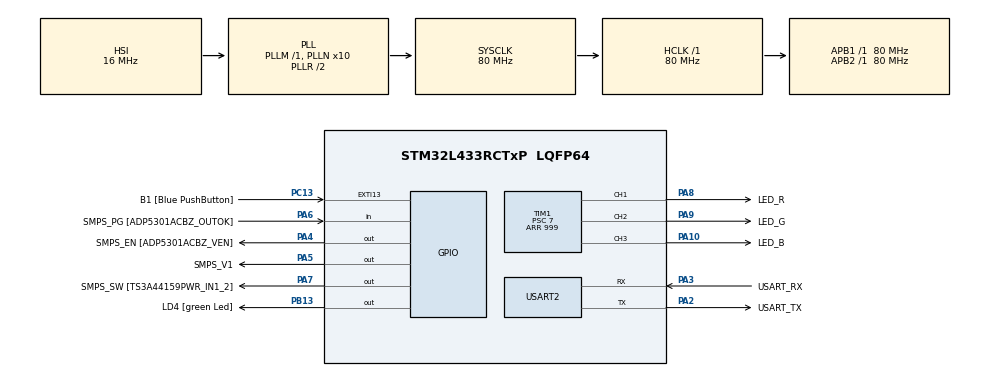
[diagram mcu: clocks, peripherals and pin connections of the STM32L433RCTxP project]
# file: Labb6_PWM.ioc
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Mcu.Family=STM32L4
Mcu.Name=STM32L433RCTxP
Mcu.Package=LQFP64
NVIC.PriorityGroup=NVIC_PRIORITYGROUP_4
NVIC.TIM1_UP_TIM16_IRQn=true\:0\:0\:false\:false\:true\:true\:true\:true
PA10.GPIO_Label=LED_B
PA10.Signal=S_TIM1_CH3
PA13\ (JTMS-SWDIO).GPIO_Label=TMS
PA13\ (JTMS-SWDIO).Mode=Serial_Wire
PA13\ (JTMS-SWDIO).Signal=SYS_JTMS-SWDIO
PA14\ (JTCK-SWCLK).GPIO_Label=TCK
PA14\ (JTCK-SWCLK).Mode=Serial_Wire
PA14\ (JTCK-SWCLK).Signal=SYS_JTCK-SWCLK
PA2.GPIO_Label=USART_TX
PA2.GPIO_Mode=GPIO_MODE_AF_PP
PA2.GPIO_PuPd=GPIO_NOPULL
PA2.GPIO_Speed=GPIO_SPEED_FREQ_VERY_HIGH
PA2.Mode=Asynchronous
PA2.Signal=USART2_TX
PA3.GPIO_Label=USART_RX
PA3.GPIO_Mode=GPIO_MODE_AF_PP
PA3.GPIO_PuPd=GPIO_NOPULL
PA3.GPIO_Speed=GPIO_SPEED_FREQ_VERY_HIGH
PA3.Mode=Asynchronous
PA3.Signal=USART2_RX
PA4.GPIO_Label=SMPS_EN [ADP5301ACBZ_VEN]
PA4.Signal=GPIO_Output
PA5.GPIO_Label=SMPS_V1
PA5.GPIO_ModeDefaultOutputPP=GPIO_MODE_OUTPUT_PP
PA5.GPIO_PuPd=GPIO_NOPULL
PA5.GPIO_Speed=GPIO_SPEED_FREQ_LOW
PA5.Signal=GPIO_Output
PA6.GPIO_Label=SMPS_PG [ADP5301ACBZ_OUTOK]
PA6.GPIO_PuPd=GPIO_PULLUP
PA6.Signal=GPIO_Input
PA7.GPIO_Label=SMPS_SW [TS3A44159PWR_IN1_2]
PA7.Signal=GPIO_Output
PA8.GPIO_Label=LED_R
PA8.Signal=S_TIM1_CH1
PA9.GPIO_Label=LED_G
PA9.Signal=S_TIM1_CH2
PB13.GPIO_Label=LD4 [green Led]
PB13.Signal=GPIO_Output
PB3\ (JTDO-TRACESWO).GPIO_Label=SWO
PB3\ (JTDO-TRACESWO).Signal=SYS_JTDO-SWO
PC13.GPIO_Label=B1 [Blue PushButton]
PC13.GPIO_ModeDefaultEXTI=GPIO_MODE_IT_FALLING
PC13.GPIO_PuPd=GPIO_NOPULL
PC13.Signal=GPXTI13
PC14-OSC32_IN\ (PC14).Mode=LSE-External-Oscillator
PC14-OSC32_IN\ (PC14).Signal=RCC_OSC32_IN
PC15-OSC32_OUT\ (PC15).Mode=LSE-External-Oscillator
PC15-OSC32_OUT\ (PC15).Signal=RCC_OSC32_OUT
PH0-OSC_IN\ (PH0).GPIO_Label=MCO
PH0-OSC_IN\ (PH0).Mode=HSE-External-Clock-Source
PH0-OSC_IN\ (PH0).Signal=RCC_OSC_IN
PH1-OSC_OUT\ (PH1).Signal=RCC_OSC_OUT
ProjectManager.HeapSize=0x200
ProjectManager.StackSize=0x400
ProjectManager.TargetToolchain=STM32CubeIDE
RCC.ADCFreq_Value=64000000
RCC.AHBFreq_Value=80000000
RCC.APB1Freq_Value=80000000
RCC.APB1TimFreq_Value=80000000
RCC.APB2Freq_Value=80000000
RCC.APB2TimFreq_Value=80000000
RCC.CortexFreq_Value=80000000
RCC.HCLKFreq_Value=80000000
RCC.HSE_VALUE=8000000
RCC.HSI48_VALUE=48000000
RCC.HSI_VALUE=16000000
RCC.MSI_VALUE=4000000
RCC.PLLN=10
RCC.PLLSourceVirtual=RCC_PLLSOURCE_HSI
RCC.PREFETCH_ENABLE=1
RCC.SYSCLKFreq_VALUE=80000000
RCC.SYSCLKSource=RCC_SYSCLKSOURCE_PLLCLK
RCC.USBFreq_Value=64000000
RCC.VCOOutputFreq_Value=160000000
SH.S_TIM1_CH1.0=TIM1_CH1,PWM Generation1 CH1
SH.S_TIM1_CH2.0=TIM1_CH2,PWM Generation2 CH2
SH.S_TIM1_CH3.0=TIM1_CH3,PWM Generation3 CH3
TIM1.Channel-PWM\ Generation1\ CH1=TIM_CHANNEL_1
TIM1.Channel-PWM\ Generation2\ CH2=TIM_CHANNEL_2
TIM1.Channel-PWM\ Generation3\ CH3=TIM_CHANNEL_3
TIM1.Period=999
TIM1.Prescaler=7
USART2.VirtualMode-Asynchronous=VM_ASYNC
VP_TIM1_VS_ClockSourceINT.Mode=Internal
board=NUCLEO-L433RC-P

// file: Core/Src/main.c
/* USER CODE BEGIN Header */
/**
 ******************************************************************************
 * @file           : main.c
 * @brief          : Main program body
 ******************************************************************************
 * @attention
 *
 * Copyright (c) 2025 STMicroelectronics.
 * All rights reserved.
 *
 * This software is licensed under terms that can be found in the LICENSE file
 * in the root directory of this software component.
 * If no LICENSE file comes with this software, it is provided AS-IS.
 *
 ******************************************************************************
 */
/* USER CODE END Header */
#include "main.h"

/* USER CODE BEGIN Includes */
#include "math.h"
/* USER CODE END Includes */

TIM_HandleTypeDef htim1;

UART_HandleTypeDef huart2;

/* USER CODE BEGIN PV */
#define R_GAIN 1.0f
#define G_GAIN 1.3f
#define B_GAIN 2.0f
float t = 0.0f;
float freq = 0.3f;
const float offset = 2.0f * M_PI / 3.0f;
const float half_arr = 500.0f;
/* USER CODE END PV */

void SystemClock_Config(void);
static void MX_GPIO_Init(void);
static void MX_USART2_UART_Init(void);
static void MX_TIM1_Init(void);

/* USER CODE BEGIN 0 */
volatile uint32_t isr_count = 0;

void HAL_TIM_PeriodElapsedCallback(TIM_HandleTypeDef *htim)
{
	if (htim->Instance == TIM1)
	{
		isr_count++;
	}
}
/* USER CODE END 0 */

int main(void)
{

	/* MCU Configuration--------------------------------------------------------*/

	/* Reset of all peripherals, Initializes the Flash interface and the Systick. */
	HAL_Init();

	/* Configure the system clock */
	SystemClock_Config();

	/* Initialize all configured peripherals */
	MX_GPIO_Init();
	MX_USART2_UART_Init();
	MX_TIM1_Init();
	/* USER CODE BEGIN 2 */
	HAL_TIM_Base_Start_IT(&htim1);
	HAL_TIM_PWM_Start(&htim1, TIM_CHANNEL_1);
	HAL_TIM_PWM_Start(&htim1, TIM_CHANNEL_2);
	HAL_TIM_PWM_Start(&htim1, TIM_CHANNEL_3);
	/* USER CODE END 2 */

	/* Infinite loop */
	/* USER CODE BEGIN WHILE */
	while (1)
	{
		float rf = sinf((2.0f * M_PI * t * freq) + (0 * offset));
		float gf = sinf((2.0f * M_PI * t * freq) + (1 * offset));
		float bf = sinf((2.0f * M_PI * t * freq) + (2 * offset));

		rf = (rf + 1.0f) * half_arr * R_GAIN;
		gf = (gf + 1.0f) * half_arr * G_GAIN;
		bf = (bf + 1.0f) * half_arr * B_GAIN;

		if (rf > 999) rf = 999;
		if (gf > 999) gf = 999;
		if (bf > 999) bf = 999;

		__HAL_TIM_SET_COMPARE(&htim1, TIM_CHANNEL_1, (uint32_t)rf);
		__HAL_TIM_SET_COMPARE(&htim1, TIM_CHANNEL_2, (uint32_t)gf);
		__HAL_TIM_SET_COMPARE(&htim1, TIM_CHANNEL_3, (uint32_t)bf);
		//t += 0.001f;
		t = isr_count * 0.001f;

		//HAL_Delay(1);
		/* USER CODE END WHILE */

	}
}

void SystemClock_Config(void)
{
	RCC_OscInitTypeDef RCC_OscInitStruct = {0};
	RCC_ClkInitTypeDef RCC_ClkInitStruct = {0};

	/** Configure the main internal regulator output voltage
	 */
	if (HAL_PWREx_ControlVoltageScaling(PWR_REGULATOR_VOLTAGE_SCALE1) != HAL_OK)
	{
		Error_Handler();
	}

	/** Initializes the RCC Oscillators according to the specified parameters
	 * in the RCC_OscInitTypeDef structure.
	 */
	RCC_OscInitStruct.OscillatorType = RCC_OSCILLATORTYPE_HSI;
	RCC_OscInitStruct.HSIState = RCC_HSI_ON;
	RCC_OscInitStruct.HSICalibrationValue = RCC_HSICALIBRATION_DEFAULT;
	RCC_OscInitStruct.PLL.PLLState = RCC_PLL_ON;
	RCC_OscInitStruct.PLL.PLLSource = RCC_PLLSOURCE_HSI;
	RCC_OscInitStruct.PLL.PLLM = 1;
	RCC_OscInitStruct.PLL.PLLN = 10;
	RCC_OscInitStruct.PLL.PLLP = RCC_PLLP_DIV7;
	RCC_OscInitStruct.PLL.PLLQ = RCC_PLLQ_DIV2;
	RCC_OscInitStruct.PLL.PLLR = RCC_PLLR_DIV2;
	if (HAL_RCC_OscConfig(&RCC_OscInitStruct) != HAL_OK)
	{
		Error_Handler();
	}

	/** Initializes the CPU, AHB and APB buses clocks
	 */
	RCC_ClkInitStruct.ClockType = RCC_CLOCKTYPE_HCLK|RCC_CLOCKTYPE_SYSCLK
			|RCC_CLOCKTYPE_PCLK1|RCC_CLOCKTYPE_PCLK2;
	RCC_ClkInitStruct.SYSCLKSource = RCC_SYSCLKSOURCE_PLLCLK;
	RCC_ClkInitStruct.AHBCLKDivider = RCC_SYSCLK_DIV1;
	RCC_ClkInitStruct.APB1CLKDivider = RCC_HCLK_DIV1;
	RCC_ClkInitStruct.APB2CLKDivider = RCC_HCLK_DIV1;

	if (HAL_RCC_ClockConfig(&RCC_ClkInitStruct, FLASH_LATENCY_4) != HAL_OK)
	{
		Error_Handler();
	}
}

static void MX_TIM1_Init(void)
{

	TIM_ClockConfigTypeDef sClockSourceConfig = {0};
	TIM_MasterConfigTypeDef sMasterConfig = {0};
	TIM_OC_InitTypeDef sConfigOC = {0};
	TIM_BreakDeadTimeConfigTypeDef sBreakDeadTimeConfig = {0};

	htim1.Instance = TIM1;
	htim1.Init.Prescaler = 7;
	htim1.Init.CounterMode = TIM_COUNTERMODE_UP;
	htim1.Init.Period = 999;
	htim1.Init.ClockDivision = TIM_CLOCKDIVISION_DIV1;
	htim1.Init.RepetitionCounter = 0;
	htim1.Init.AutoReloadPreload = TIM_AUTORELOAD_PRELOAD_DISABLE;
	if (HAL_TIM_Base_Init(&htim1) != HAL_OK)
	{
		Error_Handler();
	}
	sClockSourceConfig.ClockSource = TIM_CLOCKSOURCE_INTERNAL;
	if (HAL_TIM_ConfigClockSource(&htim1, &sClockSourceConfig) != HAL_OK)
	{
		Error_Handler();
	}
	if (HAL_TIM_PWM_Init(&htim1) != HAL_OK)
	{
		Error_Handler();
	}
	sMasterConfig.MasterOutputTrigger = TIM_TRGO_RESET;
	sMasterConfig.MasterOutputTrigger2 = TIM_TRGO2_RESET;
	sMasterConfig.MasterSlaveMode = TIM_MASTERSLAVEMODE_DISABLE;
	if (HAL_TIMEx_MasterConfigSynchronization(&htim1, &sMasterConfig) != HAL_OK)
	{
		Error_Handler();
	}
	sConfigOC.OCMode = TIM_OCMODE_PWM1;
	sConfigOC.Pulse = 0;
	sConfigOC.OCPolarity = TIM_OCPOLARITY_HIGH;
	sConfigOC.OCNPolarity = TIM_OCNPOLARITY_HIGH;
	sConfigOC.OCFastMode = TIM_OCFAST_DISABLE;
	sConfigOC.OCIdleState = TIM_OCIDLESTATE_RESET;
	sConfigOC.OCNIdleState = TIM_OCNIDLESTATE_RESET;
	if (HAL_TIM_PWM_ConfigChannel(&htim1, &sConfigOC, TIM_CHANNEL_1) != HAL_OK)
	{
		Error_Handler();
	}
	if (HAL_TIM_PWM_ConfigChannel(&htim1, &sConfigOC, TIM_CHANNEL_2) != HAL_OK)
	{
		Error_Handler();
	}
	if (HAL_TIM_PWM_ConfigChannel(&htim1, &sConfigOC, TIM_CHANNEL_3) != HAL_OK)
	{
		Error_Handler();
	}
	sBreakDeadTimeConfig.OffStateRunMode = TIM_OSSR_DISABLE;
	sBreakDeadTimeConfig.OffStateIDLEMode = TIM_OSSI_DISABLE;
	sBreakDeadTimeConfig.LockLevel = TIM_LOCKLEVEL_OFF;
	sBreakDeadTimeConfig.DeadTime = 0;
	sBreakDeadTimeConfig.BreakState = TIM_BREAK_DISABLE;
	sBreakDeadTimeConfig.BreakPolarity = TIM_BREAKPOLARITY_HIGH;
	sBreakDeadTimeConfig.BreakFilter = 0;
	sBreakDeadTimeConfig.Break2State = TIM_BREAK2_DISABLE;
	sBreakDeadTimeConfig.Break2Polarity = TIM_BREAK2POLARITY_HIGH;
	sBreakDeadTimeConfig.Break2Filter = 0;
	sBreakDeadTimeConfig.AutomaticOutput = TIM_AUTOMATICOUTPUT_DISABLE;
	if (HAL_TIMEx_ConfigBreakDeadTime(&htim1, &sBreakDeadTimeConfig) != HAL_OK)
	{
		Error_Handler();
	}
	HAL_TIM_MspPostInit(&htim1);

}

static void MX_USART2_UART_Init(void)
{

	huart2.Instance = USART2;
	huart2.Init.BaudRate = 115200;
	huart2.Init.WordLength = UART_WORDLENGTH_8B;
	huart2.Init.StopBits = UART_STOPBITS_1;
	huart2.Init.Parity = UART_PARITY_NONE;
	huart2.Init.Mode = UART_MODE_TX_RX;
	huart2.Init.HwFlowCtl = UART_HWCONTROL_NONE;
	huart2.Init.OverSampling = UART_OVERSAMPLING_16;
	huart2.Init.OneBitSampling = UART_ONE_BIT_SAMPLE_DISABLE;
	huart2.AdvancedInit.AdvFeatureInit = UART_ADVFEATURE_NO_INIT;
	if (HAL_UART_Init(&huart2) != HAL_OK)
	{
		Error_Handler();
	}

}

static void MX_GPIO_Init(void)
{
	GPIO_InitTypeDef GPIO_InitStruct = {0};

	/* GPIO Ports Clock Enable */
	__HAL_RCC_GPIOC_CLK_ENABLE();
	__HAL_RCC_GPIOH_CLK_ENABLE();
	__HAL_RCC_GPIOA_CLK_ENABLE();
	__HAL_RCC_GPIOB_CLK_ENABLE();

	/*Configure GPIO pin Output Level */
	HAL_GPIO_WritePin(GPIOA, SMPS_EN_Pin|SMPS_V1_Pin|SMPS_SW_Pin, GPIO_PIN_RESET);

	/*Configure GPIO pin Output Level */
	HAL_GPIO_WritePin(LD4_GPIO_Port, LD4_Pin, GPIO_PIN_RESET);

	/*Configure GPIO pin : B1_Pin */
	GPIO_InitStruct.Pin = B1_Pin;
	GPIO_InitStruct.Mode = GPIO_MODE_IT_FALLING;
	GPIO_InitStruct.Pull = GPIO_NOPULL;
	HAL_GPIO_Init(B1_GPIO_Port, &GPIO_InitStruct);

	/*Configure GPIO pins : SMPS_EN_Pin SMPS_V1_Pin SMPS_SW_Pin */
	GPIO_InitStruct.Pin = SMPS_EN_Pin|SMPS_V1_Pin|SMPS_SW_Pin;
	GPIO_InitStruct.Mode = GPIO_MODE_OUTPUT_PP;
	GPIO_InitStruct.Pull = GPIO_NOPULL;
	GPIO_InitStruct.Speed = GPIO_SPEED_FREQ_LOW;
	HAL_GPIO_Init(GPIOA, &GPIO_InitStruct);

	/*Configure GPIO pin : SMPS_PG_Pin */
	GPIO_InitStruct.Pin = SMPS_PG_Pin;
	GPIO_InitStruct.Mode = GPIO_MODE_INPUT;
	GPIO_InitStruct.Pull = GPIO_PULLUP;
	HAL_GPIO_Init(SMPS_PG_GPIO_Port, &GPIO_InitStruct);

	/*Configure GPIO pin : LD4_Pin */
	GPIO_InitStruct.Pin = LD4_Pin;
	GPIO_InitStruct.Mode = GPIO_MODE_OUTPUT_PP;
	GPIO_InitStruct.Pull = GPIO_NOPULL;
	GPIO_InitStruct.Speed = GPIO_SPEED_FREQ_LOW;
	HAL_GPIO_Init(LD4_GPIO_Port, &GPIO_InitStruct);

}

void Error_Handler(void)
{
	__disable_irq();
	while (1)
	{
	}
}
